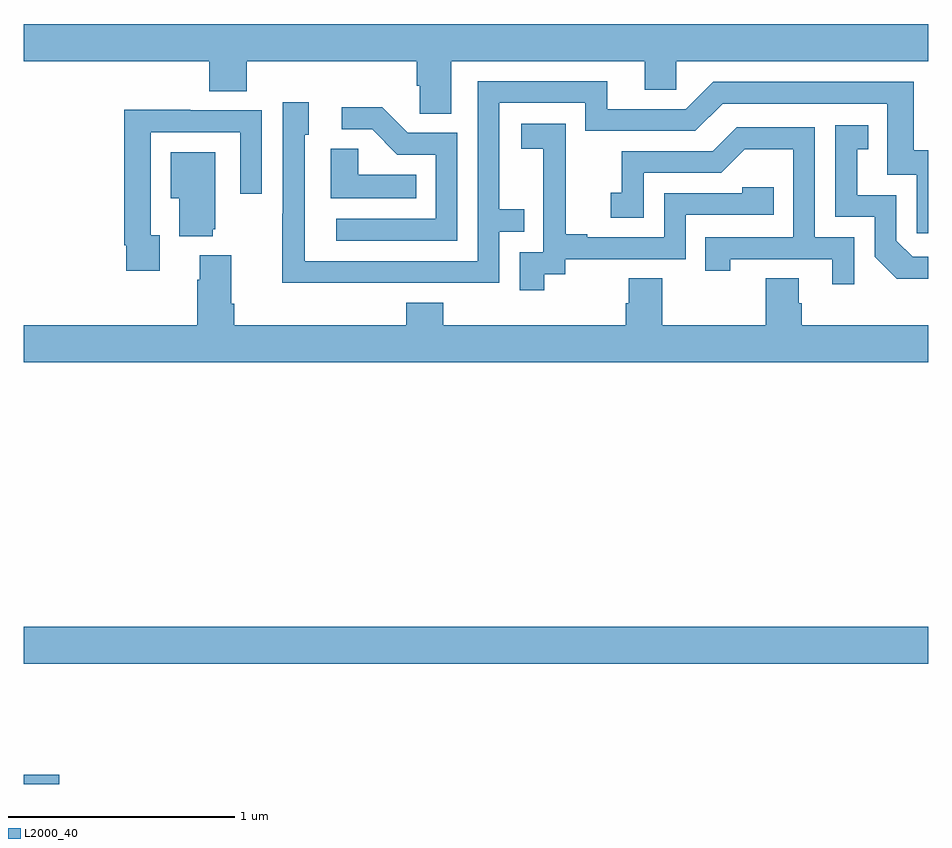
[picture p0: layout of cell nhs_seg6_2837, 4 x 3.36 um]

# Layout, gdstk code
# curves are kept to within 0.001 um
import gdstk
lib = gdstk.Library(unit=1e-6, precision=1e-09)
def R(c, l, rs):  # rectangles x0, y0, x1, y1
    for r in rs: c.add(gdstk.rectangle(r[:2], r[2:], *l))
def P(c, l, *ps):  # polygons
    for p in ps: c.add(gdstk.Polygon(p, *l))
L2000_40 = (2000, 40)

nhs_seg6_2837 = lib.new_cell('nhs_seg6_2837')
R(nhs_seg6_2837, L2000_40, [(279,917.5,279.157,917.54), (279,918.032,283,918.196)])
P(nhs_seg6_2837, L2000_40, [(280.891,920.696),(281.747,920.696),(281.747,920.569),(281.886,920.569),(281.886,920.696),(283,920.696),(283,920.86),(279,920.86),(279,920.696),(279.821,920.696),(279.821,920.563),(279.986,920.563),(279.986,920.696),(280.739,920.696),(280.739,920.587),(280.752,920.587),(280.752,920.464),(280.891,920.464)],
  [(280.607,919.716),(281.103,919.716),(281.103,919.941),(281.213,919.941),(281.213,920.042),(281.103,920.042),(281.103,920.511),(281.484,920.511),(281.484,920.388),(281.97,920.388),(282.09,920.508),(282.819,920.508),(282.819,920.193),(282.948,920.193),(282.948,919.935),(283,919.935),(283,920.302),(282.935,920.302),(282.935,920.604),(282.048,920.604),(281.928,920.484),(281.581,920.484),(281.581,920.607),(281.007,920.607),(281.007,919.812),(280.242,919.812),(280.242,920.37),(280.261,920.37),(280.261,920.515),(280.146,920.515),(280.146,920.021),(280.144,920.021),(280.144,919.715)],
  [(280.917,920.379),(280.698,920.379),(280.585,920.492),(280.407,920.492),(280.407,920.394),(280.541,920.394),(280.652,920.283),(280.821,920.283),(280.821,919.998),(280.383,919.998),(280.383,919.902),(280.917,919.902)],
  [(279.601,919.926),(279.561,919.926),(279.561,920.382),(279.957,920.382),(279.957,920.109),(280.053,920.109),(280.053,920.478),(279.737,920.478),(279.737,920.48),(279.445,920.48),(279.445,919.882),(279.453,919.882),(279.453,919.77),(279.601,919.77)],
  [(281.302,919.753),(281.394,919.753),(281.394,919.821),(281.928,919.821),(281.928,920.016),(282.317,920.016),(282.317,920.139),(282.177,920.139),(282.177,920.112),(281.832,920.112),(281.832,919.917),(281.491,919.917),(281.491,919.93),(281.396,919.93),(281.396,920.213),(281.397,920.213),(281.397,920.419),(281.199,920.419),(281.199,920.309),(281.297,920.309),(281.297,920.081),(281.298,920.081),(281.298,919.851),(281.193,919.851),(281.193,919.683),(281.302,919.683)],
  [(283,919.83),(282.93,919.83),(282.858,919.902),(282.858,920.103),(282.685,920.103),(282.685,920.307),(282.734,920.307),(282.734,920.413),(282.588,920.413),(282.588,920.007),(282.762,920.007),(282.762,919.83),(282.86,919.733),(283,919.733)],
  [(282.672,919.917),(282.498,919.917),(282.498,920.403),(282.152,920.403),(282.047,920.298),(281.644,920.298),(281.644,920.113),(281.595,920.113),(281.595,920.004),(281.742,920.004),(281.742,920.202),(282.084,920.202),(282.188,920.306),(282.402,920.306),(282.402,919.917),(282.013,919.917),(282.013,919.77),(282.124,919.77),(282.124,919.821),(282.575,919.821),(282.575,919.71),(282.672,919.71)],
  [(280.736,920.194),(280.479,920.194),(280.479,920.309),(280.358,920.309),(280.358,920.09),(280.736,920.09)],
  [(279.836,919.953),(279.847,919.953),(279.847,920.293),(279.65,920.293),(279.65,920.09),(279.689,920.09),(279.689,919.922),(279.836,919.922)],
  [(283,919.528),(282.44,919.528),(282.44,919.626),(282.427,919.626),(282.427,919.736),(282.28,919.736),(282.28,919.528),(281.823,919.528),(281.823,919.736),(281.675,919.736),(281.675,919.626),(281.663,919.626),(281.663,919.528),(280.856,919.528),(280.856,919.627),(280.691,919.627),(280.691,919.528),(279.932,919.528),(279.932,919.624),(279.919,919.624),(279.919,919.837),(279.779,919.837),(279.779,919.73),(279.767,919.73),(279.767,919.528),(279,919.528),(279,919.364),(283,919.364)])

lib.write_gds('nhs_seg6_2837.gds')
